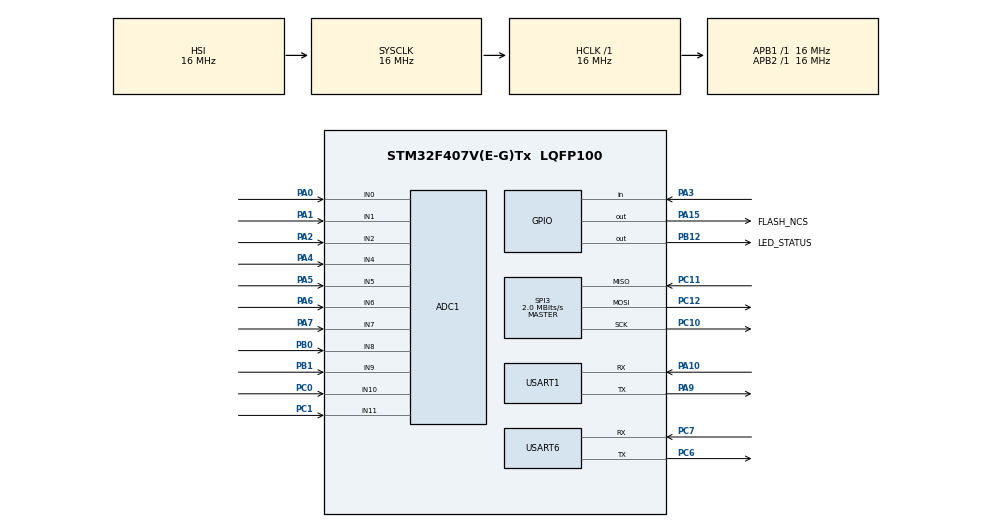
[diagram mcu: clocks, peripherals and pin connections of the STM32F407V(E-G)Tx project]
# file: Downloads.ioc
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ADC1.Channel-0\#ChannelRegularConversion=ADC_CHANNEL_0
ADC1.NbrOfConversionFlag=1
ADC1.Rank-0\#ChannelRegularConversion=1
ADC1.SamplingTime-0\#ChannelRegularConversion=ADC_SAMPLETIME_3CYCLES
ADC1.master=1
Dma.ADC1.0.Direction=DMA_PERIPH_TO_MEMORY
Dma.ADC1.0.FIFOMode=DMA_FIFOMODE_DISABLE
Dma.ADC1.0.Instance=DMA2_Stream0
Dma.ADC1.0.MemDataAlignment=DMA_MDATAALIGN_HALFWORD
Dma.ADC1.0.MemInc=DMA_MINC_ENABLE
Dma.ADC1.0.Mode=DMA_NORMAL
Dma.ADC1.0.PeriphDataAlignment=DMA_PDATAALIGN_HALFWORD
Dma.ADC1.0.PeriphInc=DMA_PINC_DISABLE
Dma.ADC1.0.Priority=DMA_PRIORITY_LOW
Dma.Request0=ADC1
FREERTOS.Tasks01=defaultTask,0,128,StartDefaultTask,Default,NULL,Dynamic,NULL,NULL
FREERTOS.configUSE_NEWLIB_REENTRANT=1
Mcu.Family=STM32F4
Mcu.Name=STM32F407V(E-G)Tx
Mcu.Package=LQFP100
NVIC.DMA2_Stream0_IRQn=true\:5\:0\:false\:false\:true\:true\:false\:true\:true
NVIC.PriorityGroup=NVIC_PRIORITYGROUP_4
NVIC.TIM1_UP_TIM10_IRQn=true\:15\:0\:false\:false\:true\:false\:false\:true\:true
NVIC.TimeBase=TIM1_UP_TIM10_IRQn
NVIC.TimeBaseIP=TIM1
PA0-WKUP.Signal=ADCx_IN0
PA1.Signal=ADCx_IN1
PA10.Mode=Asynchronous
PA10.Signal=USART1_RX
PA13.Mode=Trace_Asynchronous_SW
PA13.Signal=SYS_JTMS-SWDIO
PA14.Mode=Trace_Asynchronous_SW
PA14.Signal=SYS_JTCK-SWCLK
PA15.GPIO_Label=FLASH_NCS
PA15.Signal=GPIO_Output
PA2.Signal=ADCx_IN2
PA3.GPIO_PuPd=GPIO_PULLUP
PA3.Signal=GPIO_Input
PA4.Signal=ADCx_IN4
PA5.Signal=ADCx_IN5
PA6.Signal=ADCx_IN6
PA7.Signal=ADCx_IN7
PA9.Mode=Asynchronous
PA9.Signal=USART1_TX
PB0.Signal=ADCx_IN8
PB1.Signal=ADCx_IN9
PB12.GPIO_Label=LED_STATUS
PB12.Signal=GPIO_Output
PB3.Mode=Trace_Asynchronous_SW
PB3.Signal=SYS_JTDO-SWO
PC0.Signal=ADCx_IN10
PC1.Signal=ADCx_IN11
PC10.Mode=Full_Duplex_Master
PC10.Signal=SPI3_SCK
PC11.Mode=Full_Duplex_Master
PC11.Signal=SPI3_MISO
PC12.Mode=Full_Duplex_Master
PC12.Signal=SPI3_MOSI
PC6.Mode=Asynchronous
PC6.Signal=USART6_TX
PC7.Mode=Asynchronous
PC7.Signal=USART6_RX
ProjectManager.HeapSize=0x200
ProjectManager.StackSize=0x400
ProjectManager.TargetToolchain=STM32CubeIDE
RCC.AHBFreq_Value=16000000
RCC.APB1Freq_Value=16000000
RCC.APB2Freq_Value=16000000
RCC.CortexFreq_Value=16000000
RCC.HSE_VALUE=25000000
RCC.HSI_VALUE=16000000
RCC.LSE_VALUE=32768
RCC.SYSCLKFreq_VALUE=16000000
RCC.VCOOutputFreq_Value=192000000
SH.ADCx_IN0.0=ADC1_IN0,IN0
SH.ADCx_IN1.0=ADC1_IN1,IN1
SH.ADCx_IN10.0=ADC1_IN10,IN10
SH.ADCx_IN11.0=ADC1_IN11,IN11
SH.ADCx_IN2.0=ADC1_IN2,IN2
SH.ADCx_IN4.0=ADC1_IN4,IN4
SH.ADCx_IN5.0=ADC1_IN5,IN5
SH.ADCx_IN6.0=ADC1_IN6,IN6
SH.ADCx_IN7.0=ADC1_IN7,IN7
SH.ADCx_IN8.0=ADC1_IN8,IN8
SH.ADCx_IN9.0=ADC1_IN9,IN9
SPI3.BaudRatePrescaler=SPI_BAUDRATEPRESCALER_8
SPI3.CalculateBaudRate=2.0 MBits/s
SPI3.Direction=SPI_DIRECTION_2LINES
SPI3.Mode=SPI_MODE_MASTER
SPI3.VirtualType=VM_MASTER
USART1.VirtualMode=VM_ASYNC
USART6.VirtualMode=VM_ASYNC
VP_FREERTOS_VS_CMSIS_V1.Mode=CMSIS_V1
VP_SYS_VS_tim1.Mode=TIM1
board=custom

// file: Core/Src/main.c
/* USER CODE BEGIN Header */
/**
  ******************************************************************************
  * @file           : main.c
  * @brief          : Main program body
  ******************************************************************************
  * @attention
  *
  * Copyright (c) 2023 STMicroelectronics.
  * All rights reserved.
  *
  * This software is licensed under terms that can be found in the LICENSE file
  * in the root directory of this software component.
  * If no LICENSE file comes with this software, it is provided AS-IS.
  *
  ******************************************************************************
  */
/* USER CODE END Header */
#include "main.h"
#include "cmsis_os.h"
#include <stdint.h>
#include <stdio.h>
#include <string.h>

/* USER CODE BEGIN PD */
#define NOMINAL_RES 10000
#define NOMINAL_TEMP 25
#define BETA_COEFF 3950
#define O_RES 10000
/* USER CODE END PD */

ADC_HandleTypeDef hadc1;
DMA_HandleTypeDef hdma_adc1;

SPI_HandleTypeDef hspi3;

UART_HandleTypeDef huart1;
UART_HandleTypeDef huart6;

osThreadId defaultTaskHandle;
/* USER CODE BEGIN PV */
//static QueueHandle_t adc_queue;
//static QueueHandle_t sensor_queue;
/* USER CODE END PV */

void SystemClock_Config(void);
static void MX_GPIO_Init(void);
static void MX_DMA_Init(void);
static void MX_ADC1_Init(void);
static void MX_USART1_UART_Init(void);
static void MX_USART6_UART_Init(void);
static void MX_SPI3_Init(void);
void StartDefaultTask(void const * argument);
void sensors_task( void * params );

/* USER CODE BEGIN 0 */
// Function to read ADC1 values from all channels and send them over USART6
void StartDefaultTask(void const *argument)
{
    // Initialize ADC1
    MX_ADC1_Init();

    // Initialize DMA for ADC
    MX_DMA_Init();

    // Initialize USART6
    MX_USART6_UART_Init();

    // Buffer to store ADC values
    uint16_t adcValues[12];

    //const float voltage_per_division = 3.3 / 4096.0;

    while (1)
    {
        // Start ADC conversion for all channels using DMA
        HAL_ADC_Start_DMA(&hadc1, (uint32_t *)adcValues, 12);

        // Wait for ADC conversion to complete
        osDelay(5); // Adjust delay as needed based on ADC conversion time
        //adc_queue() = adcValues[12];
        // Convert ADC values to ASCII strings
        // Convert ADC values to ASCII strings
		char adcValueStr[10];
		for (int i = 0; i < 12; i++)
		{
			sprintf(adcValueStr, "Channel %d: %d\r\n", i, adcValues[i]);
			// Send ADC value over USART6
			HAL_UART_Transmit(&huart6, (uint8_t *)adcValueStr, strlen(adcValueStr), HAL_MAX_DELAY);
		}

		osDelay(1000); // Delay for 1 second
		}
    }

//void sensors_task( void * params ) {
//
//	while(1){
//
//	}
//
//}
/* USER CODE END 0 */

int main(void)
{
  /* USER CODE BEGIN 1 */
//adc_queue = xQueueCreate(100, sizeof(uint32_t));
//sensors_queue = xQueueCreate(100, sizeof(uint32_t));
  /* USER CODE END 1 */

  /* MCU Configuration--------------------------------------------------------*/

  /* Reset of all peripherals, Initializes the Flash interface and the Systick. */
  HAL_Init();

  /* Configure the system clock */
  SystemClock_Config();

  /* Initialize all configured peripherals */
  MX_GPIO_Init();
  MX_DMA_Init();
  MX_ADC1_Init();
  MX_USART1_UART_Init();
  MX_USART6_UART_Init();
  MX_SPI3_Init();

  /* Create the thread(s) */
  /* definition and creation of defaultTask */
  osThreadDef(defaultTask, StartDefaultTask, osPriorityNormal, 0, 128);
  defaultTaskHandle = osThreadCreate(osThread(defaultTask), NULL);

  /* USER CODE BEGIN RTOS_THREADS */
//  osThreadDef(sensorTask, sensors_task, osPriorityNormal, 0, 128);
//  defaultTaskHandle = osThreadCreate(osThread(defaultTask), NULL);
  /* USER CODE END RTOS_THREADS */

  /* Start scheduler */
  osKernelStart();

  /* We should never get here as control is now taken by the scheduler */
  /* Infinite loop */
  while (1)
  {

  }
}

void SystemClock_Config(void)
{
  RCC_OscInitTypeDef RCC_OscInitStruct = {0};
  RCC_ClkInitTypeDef RCC_ClkInitStruct = {0};

  /** Configure the main internal regulator output voltage
  */
  __HAL_RCC_PWR_CLK_ENABLE();
  __HAL_PWR_VOLTAGESCALING_CONFIG(PWR_REGULATOR_VOLTAGE_SCALE1);

  /** Initializes the RCC Oscillators according to the specified parameters
  * in the RCC_OscInitTypeDef structure.
  */
  RCC_OscInitStruct.OscillatorType = RCC_OSCILLATORTYPE_HSI;
  RCC_OscInitStruct.HSIState = RCC_HSI_ON;
  RCC_OscInitStruct.HSICalibrationValue = RCC_HSICALIBRATION_DEFAULT;
  RCC_OscInitStruct.PLL.PLLState = RCC_PLL_NONE;
  if (HAL_RCC_OscConfig(&RCC_OscInitStruct) != HAL_OK)
  {
    Error_Handler();
  }

  /** Initializes the CPU, AHB and APB buses clocks
  */
  RCC_ClkInitStruct.ClockType = RCC_CLOCKTYPE_HCLK|RCC_CLOCKTYPE_SYSCLK
                              |RCC_CLOCKTYPE_PCLK1|RCC_CLOCKTYPE_PCLK2;
  RCC_ClkInitStruct.SYSCLKSource = RCC_SYSCLKSOURCE_HSI;
  RCC_ClkInitStruct.AHBCLKDivider = RCC_SYSCLK_DIV1;
  RCC_ClkInitStruct.APB1CLKDivider = RCC_HCLK_DIV1;
  RCC_ClkInitStruct.APB2CLKDivider = RCC_HCLK_DIV1;

  if (HAL_RCC_ClockConfig(&RCC_ClkInitStruct, FLASH_LATENCY_0) != HAL_OK)
  {
    Error_Handler();
  }
}

static void MX_ADC1_Init(void)
{

  ADC_ChannelConfTypeDef sConfig = {0};

  /** Configure the global features of the ADC (Clock, Resolution, Data Alignment and number of conversion)
  */
  hadc1.Instance = ADC1;
  hadc1.Init.ClockPrescaler = ADC_CLOCK_SYNC_PCLK_DIV2;
  hadc1.Init.Resolution = ADC_RESOLUTION_12B;
  hadc1.Init.ScanConvMode = ENABLE;
  hadc1.Init.ContinuousConvMode = DISABLE;
  hadc1.Init.DiscontinuousConvMode = DISABLE;
  hadc1.Init.ExternalTrigConvEdge = ADC_EXTERNALTRIGCONVEDGE_NONE;
  hadc1.Init.ExternalTrigConv = ADC_SOFTWARE_START;
  hadc1.Init.DataAlign = ADC_DATAALIGN_RIGHT;
  hadc1.Init.NbrOfConversion = 12;
  hadc1.Init.DMAContinuousRequests = DISABLE;
  hadc1.Init.EOCSelection = ADC_EOC_SINGLE_CONV;
  if (HAL_ADC_Init(&hadc1) != HAL_OK)
  {
    Error_Handler();
  }

  /** Configure for the selected ADC regular channel its corresponding rank in the sequencer and its sample time.
  */
  sConfig.Channel = ADC_CHANNEL_0;
  sConfig.Rank = 1;
  sConfig.SamplingTime = ADC_SAMPLETIME_3CYCLES;
  if (HAL_ADC_ConfigChannel(&hadc1, &sConfig) != HAL_OK)
  {
    Error_Handler();
  }
  sConfig.Channel = ADC_CHANNEL_1;
  sConfig.Rank = 2;
  sConfig.SamplingTime = ADC_SAMPLETIME_3CYCLES;
  if (HAL_ADC_ConfigChannel(&hadc1, &sConfig) != HAL_OK)
  {
    Error_Handler();
  }
  sConfig.Channel = ADC_CHANNEL_2;
  sConfig.Rank = 3;
  sConfig.SamplingTime = ADC_SAMPLETIME_3CYCLES;
  if (HAL_ADC_ConfigChannel(&hadc1, &sConfig) != HAL_OK)
  {
    Error_Handler();
  }
  sConfig.Channel = ADC_CHANNEL_3;
  sConfig.Rank = 4;
  sConfig.SamplingTime = ADC_SAMPLETIME_3CYCLES;
  if (HAL_ADC_ConfigChannel(&hadc1, &sConfig) != HAL_OK)
  {
    Error_Handler();
  }
  sConfig.Channel = ADC_CHANNEL_4;
  sConfig.Rank = 5;
  sConfig.SamplingTime = ADC_SAMPLETIME_3CYCLES;
  if (HAL_ADC_ConfigChannel(&hadc1, &sConfig) != HAL_OK)
  {
    Error_Handler();
  }
  sConfig.Channel = ADC_CHANNEL_5;
  sConfig.Rank = 6;
  sConfig.SamplingTime = ADC_SAMPLETIME_3CYCLES;
  if (HAL_ADC_ConfigChannel(&hadc1, &sConfig) != HAL_OK)
  {
    Error_Handler();
  }
  sConfig.Channel = ADC_CHANNEL_6;
  sConfig.Rank = 7;
  sConfig.SamplingTime = ADC_SAMPLETIME_3CYCLES;
  if (HAL_ADC_ConfigChannel(&hadc1, &sConfig) != HAL_OK)
  {
    Error_Handler();
  }
  sConfig.Channel = ADC_CHANNEL_7;
  sConfig.Rank = 8;
  sConfig.SamplingTime = ADC_SAMPLETIME_3CYCLES;
  if (HAL_ADC_ConfigChannel(&hadc1, &sConfig) != HAL_OK)
  {
    Error_Handler();
  }
  sConfig.Channel = ADC_CHANNEL_8;
  sConfig.Rank = 9;
  sConfig.SamplingTime = ADC_SAMPLETIME_3CYCLES;
  if (HAL_ADC_ConfigChannel(&hadc1, &sConfig) != HAL_OK)
  {
    Error_Handler();
  }
  sConfig.Channel = ADC_CHANNEL_9;
  sConfig.Rank = 10;
  sConfig.SamplingTime = ADC_SAMPLETIME_3CYCLES;
  if (HAL_ADC_ConfigChannel(&hadc1, &sConfig) != HAL_OK)
  {
    Error_Handler();
  }
  sConfig.Channel = ADC_CHANNEL_10;
  sConfig.Rank = 11;
  sConfig.SamplingTime = ADC_SAMPLETIME_3CYCLES;
  if (HAL_ADC_ConfigChannel(&hadc1, &sConfig) != HAL_OK)
  {
    Error_Handler();
  }
  sConfig.Channel = ADC_CHANNEL_11;
  sConfig.Rank = 12;
  sConfig.SamplingTime = ADC_SAMPLETIME_3CYCLES;
  if (HAL_ADC_ConfigChannel(&hadc1, &sConfig) != HAL_OK)
  {
    Error_Handler();
  }

}

static void MX_SPI3_Init(void)
{

  /* SPI3 parameter configuration*/
  hspi3.Instance = SPI3;
  hspi3.Init.Mode = SPI_MODE_MASTER;
  hspi3.Init.Direction = SPI_DIRECTION_2LINES;
  hspi3.Init.DataSize = SPI_DATASIZE_8BIT;
  hspi3.Init.CLKPolarity = SPI_POLARITY_LOW;
  hspi3.Init.CLKPhase = SPI_PHASE_1EDGE;
  hspi3.Init.NSS = SPI_NSS_SOFT;
  hspi3.Init.BaudRatePrescaler = SPI_BAUDRATEPRESCALER_8;
  hspi3.Init.FirstBit = SPI_FIRSTBIT_MSB;
  hspi3.Init.TIMode = SPI_TIMODE_DISABLE;
  hspi3.Init.CRCCalculation = SPI_CRCCALCULATION_DISABLE;
  hspi3.Init.CRCPolynomial = 10;
  if (HAL_SPI_Init(&hspi3) != HAL_OK)
  {
    Error_Handler();
  }

}

static void MX_USART1_UART_Init(void)
{

  huart1.Instance = USART1;
  huart1.Init.BaudRate = 115200;
  huart1.Init.WordLength = UART_WORDLENGTH_8B;
  huart1.Init.StopBits = UART_STOPBITS_1;
  huart1.Init.Parity = UART_PARITY_NONE;
  huart1.Init.Mode = UART_MODE_TX_RX;
  huart1.Init.HwFlowCtl = UART_HWCONTROL_NONE;
  huart1.Init.OverSampling = UART_OVERSAMPLING_16;
  if (HAL_UART_Init(&huart1) != HAL_OK)
  {
    Error_Handler();
  }

}

static void MX_USART6_UART_Init(void)
{

  huart6.Instance = USART6;
  huart6.Init.BaudRate = 115200;
  huart6.Init.WordLength = UART_WORDLENGTH_8B;
  huart6.Init.StopBits = UART_STOPBITS_1;
  huart6.Init.Parity = UART_PARITY_NONE;
  huart6.Init.Mode = UART_MODE_TX_RX;
  huart6.Init.HwFlowCtl = UART_HWCONTROL_NONE;
  huart6.Init.OverSampling = UART_OVERSAMPLING_16;
  if (HAL_UART_Init(&huart6) != HAL_OK)
  {
    Error_Handler();
  }

}

static void MX_DMA_Init(void)
{

  /* DMA controller clock enable */
  __HAL_RCC_DMA2_CLK_ENABLE();

  /* DMA interrupt init */
  /* DMA2_Stream0_IRQn interrupt configuration */
  HAL_NVIC_SetPriority(DMA2_Stream0_IRQn, 5, 0);
  HAL_NVIC_EnableIRQ(DMA2_Stream0_IRQn);

}

static void MX_GPIO_Init(void)
{
  GPIO_InitTypeDef GPIO_InitStruct = {0};

  /* GPIO Ports Clock Enable */
  __HAL_RCC_GPIOC_CLK_ENABLE();
  __HAL_RCC_GPIOA_CLK_ENABLE();
  __HAL_RCC_GPIOB_CLK_ENABLE();

  /*Configure GPIO pin Output Level */
  HAL_GPIO_WritePin(LED_STATUS_GPIO_Port, LED_STATUS_Pin, GPIO_PIN_RESET);

  /*Configure GPIO pin Output Level */
  HAL_GPIO_WritePin(FLASH_NCS_GPIO_Port, FLASH_NCS_Pin, GPIO_PIN_RESET);

  /*Configure GPIO pin : PA3 */
  GPIO_InitStruct.Pin = GPIO_PIN_3;
  GPIO_InitStruct.Mode = GPIO_MODE_INPUT;
  GPIO_InitStruct.Pull = GPIO_PULLUP;
  HAL_GPIO_Init(GPIOA, &GPIO_InitStruct);

  /*Configure GPIO pin : LED_STATUS_Pin */
  GPIO_InitStruct.Pin = LED_STATUS_Pin;
  GPIO_InitStruct.Mode = GPIO_MODE_OUTPUT_PP;
  GPIO_InitStruct.Pull = GPIO_NOPULL;
  GPIO_InitStruct.Speed = GPIO_SPEED_FREQ_LOW;
  HAL_GPIO_Init(LED_STATUS_GPIO_Port, &GPIO_InitStruct);

  /*Configure GPIO pin : FLASH_NCS_Pin */
  GPIO_InitStruct.Pin = FLASH_NCS_Pin;
  GPIO_InitStruct.Mode = GPIO_MODE_OUTPUT_PP;
  GPIO_InitStruct.Pull = GPIO_NOPULL;
  GPIO_InitStruct.Speed = GPIO_SPEED_FREQ_LOW;
  HAL_GPIO_Init(FLASH_NCS_GPIO_Port, &GPIO_InitStruct);

}

//void StartDefaultTask(void const * argument)
//{
//  /* USER CODE BEGIN 5 */
//  /* Infinite loop */
//  for(;;)
//  {
//    osDelay(1);
//  }
//  /* USER CODE END 5 */
//}

void HAL_TIM_PeriodElapsedCallback(TIM_HandleTypeDef *htim)
{
  if (htim->Instance == TIM1) {
    HAL_IncTick();
  }
}

void Error_Handler(void)
{
  __disable_irq();
  while (1)
  {
  }
}
